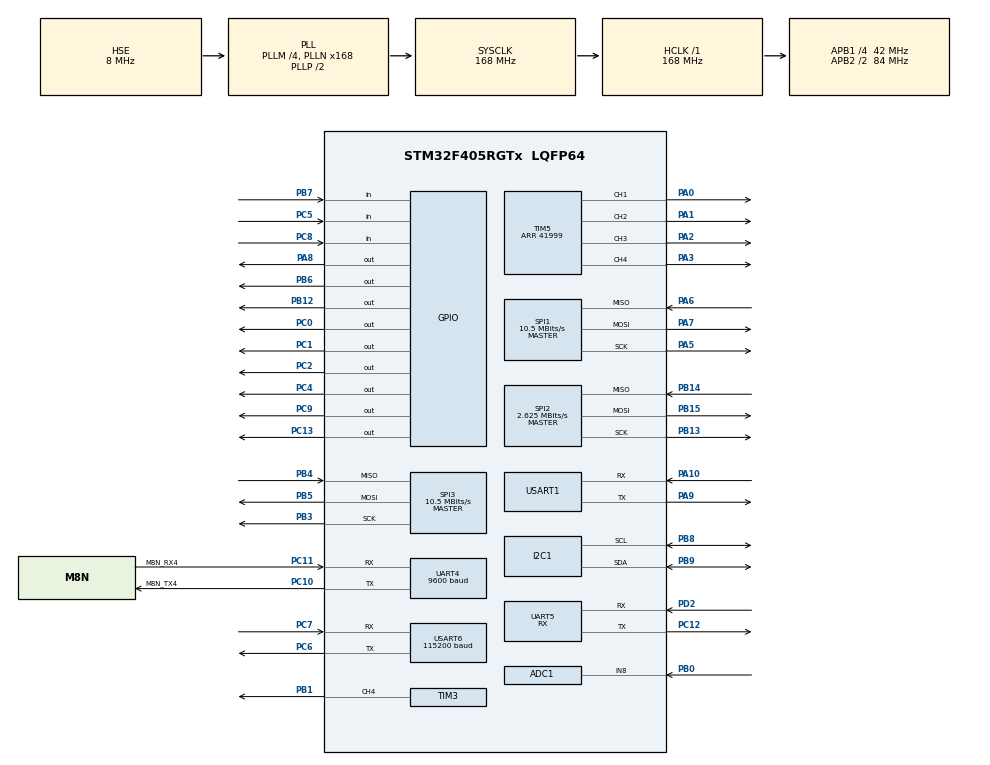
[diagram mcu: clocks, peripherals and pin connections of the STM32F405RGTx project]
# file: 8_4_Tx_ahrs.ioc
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ADC1.Channel-0\#ChannelRegularConversion=ADC_CHANNEL_8
ADC1.ClockPrescaler=ADC_CLOCK_SYNC_PCLK_DIV8
ADC1.ContinuousConvMode=ENABLE
ADC1.DMAContinuousRequests=ENABLE
ADC1.NbrOfConversionFlag=1
ADC1.Rank-0\#ChannelRegularConversion=1
ADC1.SamplingTime-0\#ChannelRegularConversion=ADC_SAMPLETIME_480CYCLES
ADC1.master=1
Dma.ADC1.0.Direction=DMA_PERIPH_TO_MEMORY
Dma.ADC1.0.FIFOMode=DMA_FIFOMODE_DISABLE
Dma.ADC1.0.Instance=DMA2_Stream0
Dma.ADC1.0.MemDataAlignment=DMA_MDATAALIGN_HALFWORD
Dma.ADC1.0.MemInc=DMA_MINC_DISABLE
Dma.ADC1.0.Mode=DMA_CIRCULAR
Dma.ADC1.0.PeriphDataAlignment=DMA_PDATAALIGN_HALFWORD
Dma.ADC1.0.PeriphInc=DMA_PINC_DISABLE
Dma.ADC1.0.Priority=DMA_PRIORITY_LOW
Dma.Request0=ADC1
I2C1.I2C_Mode=I2C_Fast
Mcu.Family=STM32F4
Mcu.Name=STM32F405RGTx
Mcu.Package=LQFP64
NVIC.DMA2_Stream0_IRQn=true\:0\:0\:false\:false\:true\:false\:true
NVIC.PriorityGroup=NVIC_PRIORITYGROUP_4
NVIC.TIM7_IRQn=true\:0\:0\:false\:false\:true\:true\:true
NVIC.UART4_IRQn=true\:0\:0\:false\:false\:true\:true\:true
NVIC.UART5_IRQn=true\:0\:0\:false\:false\:true\:true\:true
NVIC.USART1_IRQn=true\:0\:0\:false\:false\:true\:true\:true
NVIC.USART6_IRQn=true\:0\:0\:false\:false\:true\:true\:true
PA0-WKUP.Signal=S_TIM5_CH1
PA1.Signal=S_TIM5_CH2
PA10.Mode=Asynchronous
PA10.Signal=USART1_RX
PA2.Signal=S_TIM5_CH3
PA3.Signal=S_TIM5_CH4
PA5.Mode=Full_Duplex_Master
PA5.Signal=SPI1_SCK
PA6.Mode=Full_Duplex_Master
PA6.Signal=SPI1_MISO
PA7.Mode=Full_Duplex_Master
PA7.Signal=SPI1_MOSI
PA8.Signal=GPIO_Output
PA9.Mode=Asynchronous
PA9.Signal=USART1_TX
PB0.Signal=ADCx_IN8
PB1.Signal=S_TIM3_CH4
PB12.Signal=GPIO_Output
PB13.Mode=Full_Duplex_Master
PB13.Signal=SPI2_SCK
PB14.Mode=Full_Duplex_Master
PB14.Signal=SPI2_MISO
PB15.Mode=Full_Duplex_Master
PB15.Signal=SPI2_MOSI
PB3.Mode=Full_Duplex_Master
PB3.Signal=SPI3_SCK
PB4.Mode=Full_Duplex_Master
PB4.Signal=SPI3_MISO
PB5.Mode=Full_Duplex_Master
PB5.Signal=SPI3_MOSI
PB6.Signal=GPIO_Output
PB7.Signal=GPIO_Input
PB8.Mode=I2C
PB8.Signal=I2C1_SCL
PB9.Mode=I2C
PB9.Signal=I2C1_SDA
PC0.Signal=GPIO_Output
PC1.Signal=GPIO_Output
PC10.GPIO_Label=M8N_TX4
PC10.Mode=Asynchronous
PC10.Signal=UART4_TX
PC11.GPIO_Label=M8N_RX4
PC11.Mode=Asynchronous
PC11.Signal=UART4_RX
PC12.Mode=Asynchronous
PC12.Signal=UART5_TX
PC13-ANTI_TAMP.PinState=GPIO_PIN_SET
PC13-ANTI_TAMP.Signal=GPIO_Output
PC2.Signal=GPIO_Output
PC4.Signal=GPIO_Output
PC5.Signal=GPIO_Input
PC6.Mode=Asynchronous
PC6.Signal=USART6_TX
PC7.Mode=Asynchronous
PC7.Signal=USART6_RX
PC8.Signal=GPIO_Input
PC9.Signal=GPIO_Output
PD2.Mode=Asynchronous
PD2.Signal=UART5_RX
PH0-OSC_IN.Mode=HSE-External-Oscillator
PH0-OSC_IN.Signal=RCC_OSC_IN
PH1-OSC_OUT.Mode=HSE-External-Oscillator
PH1-OSC_OUT.Signal=RCC_OSC_OUT
ProjectManager.HeapSize=0x200
ProjectManager.StackSize=0x400
ProjectManager.TargetToolchain=STM32CubeIDE
RCC.48MHZClocksFreq_Value=84000000
RCC.AHBFreq_Value=168000000
RCC.APB1CLKDivider=RCC_HCLK_DIV4
RCC.APB1Freq_Value=42000000
RCC.APB1TimFreq_Value=84000000
RCC.APB2CLKDivider=RCC_HCLK_DIV2
RCC.APB2Freq_Value=84000000
RCC.APB2TimFreq_Value=168000000
RCC.CortexFreq_Value=168000000
RCC.HCLKFreq_Value=168000000
RCC.HSE_VALUE=8000000
RCC.HSI_VALUE=16000000
RCC.LSE_VALUE=32768
RCC.PLLM=4
RCC.PLLN=168
RCC.PLLSourceVirtual=RCC_PLLSOURCE_HSE
RCC.SYSCLKFreq_VALUE=168000000
RCC.SYSCLKSource=RCC_SYSCLKSOURCE_PLLCLK
RCC.VCOOutputFreq_Value=336000000
SH.ADCx_IN8.0=ADC1_IN8,IN8
SH.S_TIM3_CH4.0=TIM3_CH4,PWM Generation4 CH4
SH.S_TIM5_CH1.0=TIM5_CH1,PWM Generation1 CH1
SH.S_TIM5_CH2.0=TIM5_CH2,PWM Generation2 CH2
SH.S_TIM5_CH3.0=TIM5_CH3,PWM Generation3 CH3
SH.S_TIM5_CH4.0=TIM5_CH4,PWM Generation4 CH4
SPI1.BaudRatePrescaler=SPI_BAUDRATEPRESCALER_8
SPI1.CLKPhase=SPI_PHASE_2EDGE
SPI1.CLKPolarity=SPI_POLARITY_HIGH
SPI1.CalculateBaudRate=10.5 MBits/s
SPI1.Direction=SPI_DIRECTION_2LINES
SPI1.Mode=SPI_MODE_MASTER
SPI1.VirtualType=VM_MASTER
SPI2.BaudRatePrescaler=SPI_BAUDRATEPRESCALER_16
SPI2.CLKPhase=SPI_PHASE_2EDGE
SPI2.CLKPolarity=SPI_POLARITY_HIGH
SPI2.CalculateBaudRate=2.625 MBits/s
SPI2.Direction=SPI_DIRECTION_2LINES
SPI2.Mode=SPI_MODE_MASTER
SPI2.VirtualType=VM_MASTER
SPI3.BaudRatePrescaler=SPI_BAUDRATEPRESCALER_4
SPI3.CLKPhase=SPI_PHASE_2EDGE
SPI3.CLKPolarity=SPI_POLARITY_HIGH
SPI3.CalculateBaudRate=10.5 MBits/s
SPI3.Direction=SPI_DIRECTION_2LINES
SPI3.Mode=SPI_MODE_MASTER
SPI3.VirtualType=VM_MASTER
TIM3.AutoReloadPreload=TIM_AUTORELOAD_PRELOAD_ENABLE
TIM3.Channel-PWM\ Generation4\ CH4=TIM_CHANNEL_4
TIM3.OCFastMode_PWM-PWM\ Generation4\ CH4=TIM_OCFAST_ENABLE
TIM3.Period=20
TIM3.Prescaler=999
TIM3.Pulse-PWM\ Generation4\ CH4=10
TIM5.AutoReloadPreload=TIM_AUTORELOAD_PRELOAD_ENABLE
TIM5.Channel-PWM\ Generation1\ CH1=TIM_CHANNEL_1
TIM5.Channel-PWM\ Generation2\ CH2=TIM_CHANNEL_2
TIM5.Channel-PWM\ Generation3\ CH3=TIM_CHANNEL_3
TIM5.Channel-PWM\ Generation4\ CH4=TIM_CHANNEL_4
TIM5.OCFastMode_PWM-PWM\ Generation1\ CH1=TIM_OCFAST_ENABLE
TIM5.OCFastMode_PWM-PWM\ Generation2\ CH2=TIM_OCFAST_ENABLE
TIM5.OCFastMode_PWM-PWM\ Generation3\ CH3=TIM_OCFAST_ENABLE
TIM5.OCFastMode_PWM-PWM\ Generation4\ CH4=TIM_OCFAST_ENABLE
TIM5.Period=41999
TIM5.Pulse-PWM\ Generation1\ CH1=0
TIM5.Pulse-PWM\ Generation2\ CH2=0
TIM5.Pulse-PWM\ Generation3\ CH3=0
TIM7.AutoReloadPreload=TIM_AUTORELOAD_PRELOAD_ENABLE
TIM7.Period=1
TIM7.Prescaler=41999
UART4.BaudRate=9600
UART4.VirtualMode=Asynchronous
UART5.Mode=MODE_RX
UART5.VirtualMode=Asynchronous
USART1.VirtualMode=VM_ASYNC
USART6.BaudRate=115200
USART6.VirtualMode=VM_ASYNC
VP_TIM5_VS_ClockSourceINT.Mode=Internal
VP_TIM7_VS_ClockSourceINT.Mode=Enable_Timer
board=custom

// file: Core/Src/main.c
/* USER CODE BEGIN Header */
/**
 ******************************************************************************
 * @file           : main.c
 * @brief          : Main program body
 ******************************************************************************
 * @attention
 *
 * <h2><center>&copy; Copyright (c) 2020 STMicroelectronics.
 * All rights reserved.</center></h2>
 *
 * This software component is licensed by ST under BSD 3-Clause license,
 * the "License"; You may not use this file except in compliance with the
 * License. You may obtain a copy of the License at:
 *                        opensource.org/licenses/BSD-3-Clause
 *
 ******************************************************************************
 */
/* USER CODE END Header */

#include "main.h"
#include "adc.h"
#include "dma.h"
#include "i2c.h"
#include "spi.h"
#include "tim.h"
#include "usart.h"
#include "gpio.h"

/* USER CODE BEGIN Includes */
#include "BNO080.h"
#include "Quaternion.h"
#include "ICM20602.h"
#include "LPS22HH.h"
#include "M8N.h"
#include "FS_iA6B.h"
#include "AT24C08.h"

/* USER CODE END Includes */

/* USER CODE BEGIN PTD */
int _write(int file, char *p, int len) {
	for (int i = 0; i < len; i++) {
		while (!LL_USART_IsActiveFlag_TXE(USART6))
			;
		LL_USART_TransmitData8(USART6, *(p + i));
	}
	return len;
}
/* USER CODE END PTD */

/* USER CODE BEGIN PV */
extern uint8_t uart6_rx_flag;
extern uint8_t uart6_rx_data;
extern uint8_t m8n_rx_buf[36];
extern uint8_t m8n_rx_cplt_flag;
extern uint8_t ibus_rx_buf[32];
extern uint8_t ibus_rx_cplt_flag;
extern uint8_t uart1_rx_data;
uint8_t telemetry_tx_buf[20];
extern uint8_t tim7_20ms_flag;
/* USER CODE END PV */

void SystemClock_Config(void);
/* USER CODE BEGIN PFP */
int Is_iBus_Throttle_Min(void);
void ESC_Calibration(void);
int Is_iBus_Received(void);
void BNO080_Calibration(void);
/* USER CODE END PFP */

int main(void)
{
	/* USER CODE BEGIN 1 */
	float q[4];
	float quatRadianAccuracy;
	unsigned char buf_read[16] = {1};
	unsigned char buf_write[16] = {1, 2, 3, 4, 5, 6, 7, 8, 9, 10, 11, 12, 13, 14, 15, 16};
	unsigned short adcVal;
	float batteryVolt;
	short gyro_x_offset = 8;
	short gyro_y_offset = -23;
	short gyro_z_offset = -2;
	/* USER CODE END 1 */

	/* MCU Configuration--------------------------------------------------------*/

	/* Reset of all peripherals, Initializes the Flash interface and the Systick. */
	HAL_Init();

	/* Configure the system clock */
	SystemClock_Config();

	/* Initialize all configured peripherals */
	MX_GPIO_Init();
	MX_DMA_Init();
	MX_TIM3_Init();
	MX_USART6_UART_Init();
	MX_SPI2_Init();
	MX_SPI1_Init();
	MX_SPI3_Init();
	MX_UART4_Init();
	MX_UART5_Init();
	MX_TIM5_Init();
	MX_I2C1_Init();
	MX_ADC1_Init();
	MX_USART1_UART_Init();
	MX_TIM7_Init();
	/* USER CODE BEGIN 2 */
	//TIM3 Initialization
	LL_TIM_EnableCounter(TIM3);

	//UART4, 5, 6 Initialization
	LL_USART_EnableIT_RXNE(USART6);
	LL_USART_EnableIT_RXNE(UART4);
	LL_USART_EnableIT_RXNE(UART5);

	//9DOF Initialization
	BNO080_Initialization();
	BNO080_enableRotationVector(2500); //400Hz, maximum value describing in datasheet

	//6DOF Initialization
	ICM20602_Initialization();
	LPS22HH_Initialization();
	M8N_Initialization();

	//TIM5 Initialization
	LL_TIM_EnableCounter(TIM5);
	LL_TIM_CC_EnableChannel(TIM5, LL_TIM_CHANNEL_CH1);
	LL_TIM_CC_EnableChannel(TIM5, LL_TIM_CHANNEL_CH2);
	LL_TIM_CC_EnableChannel(TIM5, LL_TIM_CHANNEL_CH3);
	LL_TIM_CC_EnableChannel(TIM5, LL_TIM_CHANNEL_CH4);

	HAL_ADC_Start_DMA(&hadc1, &adcVal, 1);

	//UART1 - HAL Rx Interrupt
	HAL_UART_Receive_IT(&huart1, &uart1_rx_data, 1);

	//TIM7 Initialization for FC <-> GCS
	LL_TIM_EnableCounter(TIM7);
	LL_TIM_EnableIT_UPDATE(TIM7);

	//ICM20602 DC BIAS OFFSET CALIBRATION
	ICM20602_Writebyte(0x13, (gyro_x_offset * -2) >> 8);
	ICM20602_Writebyte(0x14, (gyro_x_offset * -2));

	ICM20602_Writebyte(0x15, (gyro_y_offset * -2) >> 8);
	ICM20602_Writebyte(0x16, (gyro_y_offset * -2));

	ICM20602_Writebyte(0x17, (gyro_z_offset * -2) >> 8);
	ICM20602_Writebyte(0x18, (gyro_z_offset * -2));

	//	adcVal = ADC1 -> DR;
	//	//FS-i6 PACKET CHECK
	//	while(Is_iBus_Received() == 0) {
	//		LL_TIM_CC_EnableChannel(TIM3, LL_TIM_CHANNEL_CH4);
	//		TIM3->PSC = 3000;
	//		HAL_Delay(200);
	//		LL_TIM_CC_DisableChannel(TIM3, LL_TIM_CHANNEL_CH4);
	//		HAL_Delay(200);
	//	}
	//
	//
	//	//CALIBRATION BASED ON SwC
	//	if(iBus.SwC == 2000) {
	//		//ESC CALIBRATION
	//		LL_TIM_CC_EnableChannel(TIM3, LL_TIM_CHANNEL_CH4);
	//		TIM3->PSC = 1500;
	//		HAL_Delay(200);
	//		TIM3->PSC = 4000;
	//		HAL_Delay(200);
	//		TIM3->PSC = 1500;
	//		HAL_Delay(200);
	//		TIM3->PSC = 4000;
	//		HAL_Delay(200);
	//		LL_TIM_CC_DisableChannel(TIM3, LL_TIM_CHANNEL_CH4);
	//
	//		ESC_Calibration();
	//		while(iBus.SwC != 1000) {
	//			Is_iBus_Received();
	//			LL_TIM_CC_EnableChannel(TIM3, LL_TIM_CHANNEL_CH4);
	//			TIM3->PSC = 1500;
	//			HAL_Delay(200);
	//			TIM3->PSC = 6000;
	//			HAL_Delay(200);
	//			LL_TIM_CC_DisableChannel(TIM3, LL_TIM_CHANNEL_CH4);
	//		}
	//	}
	//	else if (iBus.SwC == 1500) {
	//		//BNO080 CALIBRATION
	//		LL_TIM_CC_EnableChannel(TIM3, LL_TIM_CHANNEL_CH4);
	//		TIM3->PSC = 1500;
	//		HAL_Delay(200);
	//		TIM3->PSC = 4000;
	//		HAL_Delay(200);
	//		TIM3->PSC = 1500;
	//		HAL_Delay(200);
	//		TIM3->PSC = 4000;
	//		HAL_Delay(200);
	//		LL_TIM_CC_DisableChannel(TIM3, LL_TIM_CHANNEL_CH4);
	//
	//		BNO080_Calibration();
	//		while(iBus.SwC != 1000) {
	//			Is_iBus_Received();
	//			LL_TIM_CC_EnableChannel(TIM3, LL_TIM_CHANNEL_CH4);
	//			TIM3->PSC = 1500;
	//			HAL_Delay(200);
	//			TIM3->PSC = 6000;
	//			HAL_Delay(200);
	//			LL_TIM_CC_DisableChannel(TIM3, LL_TIM_CHANNEL_CH4);
	//		}
	//	}
	//
	//
	//
	//	while(Is_iBus_Throttle_Min() == 0) {
	//		LL_TIM_CC_EnableChannel(TIM3, LL_TIM_CHANNEL_CH4);
	//		TIM3->PSC = 1500;
	//		HAL_Delay(100);
	//		LL_TIM_CC_DisableChannel(TIM3, LL_TIM_CHANNEL_CH4);
	//		HAL_Delay(100);
	//	}

	//	//EEPROM Write
	//	EP_PIDGain_Write(0, 1.1, 2.2, 3.3);
	//	float p = 0.0, i = 0.0, d = 0.0;
	//
	//	//EEPROM Read
	//	EP_PIDGain_Read(0, &p, &i, &d);
	//	printf("%f %f %f", p, i, d);

	LL_TIM_CC_EnableChannel(TIM3, LL_TIM_CHANNEL_CH4);
	TIM3->PSC = 6000;
	HAL_Delay(200);
	TIM3->PSC = 4000;
	HAL_Delay(100);
	TIM3->PSC = 4000;
	HAL_Delay(100);
	TIM3->PSC = 6000;
	HAL_Delay(200);
	//  TIM3 -> CCR4 = TIM3 -> ARR / 2;
	LL_TIM_CC_DisableChannel(TIM3, LL_TIM_CHANNEL_CH4);

	printf("Starts\n");

	/* USER CODE END 2 */

	/* Infinite loop */
	while (1) {

		/* USER CODE BEGIN 3 */
		if (tim7_20ms_flag == 1) {
			//20ms period
			tim7_20ms_flag = 0;
			//Sync char
			telemetry_tx_buf[0] = 0x46;
			telemetry_tx_buf[1] = 0x43;
			//AHRS
			telemetry_tx_buf[2] = 0x10;
			//Current Roll
			telemetry_tx_buf[3] = (short)(BNO080_Roll * 100);
			telemetry_tx_buf[4] = ((short)(BNO080_Roll * 100)) >> 8;
			//Current Pitch
			telemetry_tx_buf[5] = (short)(BNO080_Pitch * 100);
			telemetry_tx_buf[6] = ((short)(BNO080_Pitch * 100)) >> 8;
			//Current Yaw
			telemetry_tx_buf[7] = (unsigned short)(BNO080_Yaw * 100);
			telemetry_tx_buf[8] = ((unsigned short)(BNO080_Yaw * 100)) >> 8;
			//Current Altitude
			telemetry_tx_buf[9] = (short)(LPS22HH.baroAltFilt * 10);
			telemetry_tx_buf[10] = ((short)(LPS22HH.baroAltFilt * 100)) >> 8;

			//target Roll at Controller
			telemetry_tx_buf[11] = (short)((iBus.RH - 1500) * 0.1f * 100); //-50 ~ +50
			telemetry_tx_buf[12] = ((short)((iBus.RH - 1500) * 0.1f * 100)) >> 8;

			//target Pitch at Controller
			telemetry_tx_buf[13] = (short)((iBus.RV - 1500) * 0.1f * 100); //-50 ~ +50
			telemetry_tx_buf[14] = ((short)((iBus.RV - 1500) * 0.1f * 100)) >> 8;

			//target Yaw at Controller
			telemetry_tx_buf[15] = (unsigned short)((iBus.LH - 1000) * 0.36f * 100); //0 ~ 360
			telemetry_tx_buf[16] = ((unsigned short)((iBus.LH - 1000) * 0.36f * 100)) >> 8;

			telemetry_tx_buf[17] = 0x00;
			telemetry_tx_buf[18] = 0x00;

			//Checksum
			telemetry_tx_buf[19] = 0xff;
			for(int i = 0; i < 19; i++) {
				telemetry_tx_buf[19] -= telemetry_tx_buf[i];
			}

			//Transmit
			HAL_UART_Transmit_IT(&huart1, &telemetry_tx_buf[0], 20);
		}

		//Battery Part
		batteryVolt = adcVal * 0.003619f;
		//		printf("%d\t%.2f\n", adcVal, batteryVolt);
		if (batteryVolt < 10.0f) {
			LL_TIM_CC_EnableChannel(TIM3, LL_TIM_CHANNEL_CH4);
			TIM3->PSC = 1500;
		}
		else {
			LL_TIM_CC_DisableChannel(TIM3, LL_TIM_CHANNEL_CH4);
		}

		//BNO080 - 9DOF
		if (BNO080_dataAvailable() == 1) {
			LL_GPIO_TogglePin(GPIOC, LL_GPIO_PIN_0);

			q[0] = BNO080_getQuatI();
			q[1] = BNO080_getQuatJ();
			q[2] = BNO080_getQuatK();
			q[3] = BNO080_getQuatReal();
			quatRadianAccuracy = BNO080_getQuatRadianAccuracy();

			Quaternion_Update(&q[0]);
			//			printf("%.2f\t%.2f\n", BNO080_Roll, BNO080_Pitch);
			//			printf("%.2f\n", BNO080_Yaw);
		}

		//ICM20602 - 6DOF
		if (ICM20602_DataReady() == 1) {
			LL_GPIO_TogglePin(GPIOC, LL_GPIO_PIN_1);
			ICM20602_Get3AxisGyroRawData(&ICM20602.gyro_x_raw);
			ICM20602.gyro_x = ICM20602.gyro_x_raw * 2000.f / 32768.f;
			ICM20602.gyro_y = ICM20602.gyro_y_raw * 2000.f / 32768.f;
			ICM20602.gyro_z = ICM20602.gyro_z_raw * 2000.f / 32768.f;
			//		printf("%d,%d,%d\n", ICM20602.gyro_x_raw ,ICM20602.gyro_y_raw, ICM20602.gyro_z_raw);
			//		printf("%d,%d,%d\n", (int)(ICM20602.gyro_x * 100), (int)(ICM20602.gyro_y * 100), (int)(ICM20602.gyro_z * 100));
		}

		//LPS22HH Barometer
		if(LPS22HH_DataReady() == 1) {
			LPS22HH_GetPressure(&LPS22HH.pressure_raw);
			LPS22HH_GetTemperature(&LPS22HH.temperature_raw);
			LPS22HH.baroAlt = getAltitude2(LPS22HH.pressure_raw/4096.f, LPS22HH.temperature_raw / 100.f);
#define X 0.99f
			LPS22HH.baroAltFilt = LPS22HH.baroAltFilt * X + LPS22HH.baroAlt * (1.0f -X);
			//			printf("%d,%d\n", (int)(LPS22HH.baroAlt * 100), (int)(LPS22HH.baroAltFilt * 100));
		}
		//M8N GPS
		if(m8n_rx_cplt_flag == 1) {
			m8n_rx_cplt_flag = 0;
			if (M8N_UBX_CHKSUM_Check(&m8n_rx_buf[0], 36) == 1) {
				LL_GPIO_TogglePin(GPIOC, LL_GPIO_PIN_2);
				M8N_UBX_NAV_POSLLH_Parsing(&m8n_rx_buf[0], &posllh);

				//				printf("LAT: %ld\tLON: %ld\tHeight: %ld\n", posllh.lat, posllh.lon, posllh.height);
			}
		}
		//Controller
		if (ibus_rx_cplt_flag == 1) {
			ibus_rx_cplt_flag = 0;
			if (iBus_Check_CHECKSUM(&ibus_rx_buf[0], 32) == 1) {
				LL_GPIO_TogglePin(GPIOC, LL_GPIO_PIN_2);

				iBus_Parsing(&ibus_rx_buf[0], &iBus);
				if (iBus_isActiveFailSafe(&iBus) == 1) {
					LL_TIM_CC_EnableChannel(TIM3, LL_TIM_CHANNEL_CH4);
				}
				else {
					LL_TIM_CC_DisableChannel(TIM3, LL_TIM_CHANNEL_CH4);
				}
				//				printf("%d\t%d\t%d\t%d\t%d\t%d\n", iBus.RH, iBus.RV, iBus.LV, iBus.LH, iBus.SwA, iBus.SwC);
				//				HAL_Delay(100);
			}
		}

		//		TIM5 -> CCR1 = 10500 + (iBus.LV - 1000) * 1.5;
		//		TIM5 -> CCR2 = 10500 + (iBus.LV - 1000) * 1.5;
		//		TIM5 -> CCR3 = 10500 + (iBus.LV - 1000) * 1.5;
		//		TIM5 -> CCR4 = 10500 + (iBus.LV - 1000) * 1.5;
		//		tim5_ccr4 += 10;
		//		if (tim5_ccr4 > 21000) tim5_ccr4 = 10500;
		//		TIM5->CCR4 = tim5_ccr4;
		//		HAL_Delay(1);

	}
	/* USER CODE END 3 */
}

void SystemClock_Config(void)
{
	RCC_OscInitTypeDef RCC_OscInitStruct = {0};
	RCC_ClkInitTypeDef RCC_ClkInitStruct = {0};

	/** Configure the main internal regulator output voltage
	 */
	__HAL_RCC_PWR_CLK_ENABLE();
	__HAL_PWR_VOLTAGESCALING_CONFIG(PWR_REGULATOR_VOLTAGE_SCALE1);
	/** Initializes the CPU, AHB and APB busses clocks
	 */
	RCC_OscInitStruct.OscillatorType = RCC_OSCILLATORTYPE_HSE;
	RCC_OscInitStruct.HSEState = RCC_HSE_ON;
	RCC_OscInitStruct.PLL.PLLState = RCC_PLL_ON;
	RCC_OscInitStruct.PLL.PLLSource = RCC_PLLSOURCE_HSE;
	RCC_OscInitStruct.PLL.PLLM = 4;
	RCC_OscInitStruct.PLL.PLLN = 168;
	RCC_OscInitStruct.PLL.PLLP = RCC_PLLP_DIV2;
	RCC_OscInitStruct.PLL.PLLQ = 4;
	if (HAL_RCC_OscConfig(&RCC_OscInitStruct) != HAL_OK)
	{
		Error_Handler();
	}
	/** Initializes the CPU, AHB and APB busses clocks
	 */
	RCC_ClkInitStruct.ClockType = RCC_CLOCKTYPE_HCLK|RCC_CLOCKTYPE_SYSCLK
			|RCC_CLOCKTYPE_PCLK1|RCC_CLOCKTYPE_PCLK2;
	RCC_ClkInitStruct.SYSCLKSource = RCC_SYSCLKSOURCE_PLLCLK;
	RCC_ClkInitStruct.AHBCLKDivider = RCC_SYSCLK_DIV1;
	RCC_ClkInitStruct.APB1CLKDivider = RCC_HCLK_DIV4;
	RCC_ClkInitStruct.APB2CLKDivider = RCC_HCLK_DIV2;

	if (HAL_RCC_ClockConfig(&RCC_ClkInitStruct, FLASH_LATENCY_5) != HAL_OK)
	{
		Error_Handler();
	}
}

/* USER CODE BEGIN 4 */
int Is_iBus_Throttle_Min(void) {
	if (ibus_rx_cplt_flag == 1) {
		ibus_rx_cplt_flag = 0;
		if (iBus_Check_CHECKSUM(&ibus_rx_buf[0], 32) == 1) {
			iBus_Parsing(&ibus_rx_buf[0], &iBus);
			if(iBus.LV < 1010) return 1;

		}
	}
	return 0;
}

void ESC_Calibration(void) {
	TIM5 -> CCR1 = 21000;
	TIM5 -> CCR2 = 21000;
	TIM5 -> CCR3 = 21000;
	TIM5 -> CCR4 = 21000;
	HAL_Delay(7000);
	TIM5 -> CCR1 = 10500;
	TIM5 -> CCR2 = 10500;
	TIM5 -> CCR3 = 10500;
	TIM5 -> CCR4 = 10500;
	HAL_Delay(8000);
}

int Is_iBus_Received(void) {
	if (ibus_rx_cplt_flag == 1) {
		ibus_rx_cplt_flag = 0;
		if (iBus_Check_CHECKSUM(&ibus_rx_buf[0], 32) == 1) {
			iBus_Parsing(&ibus_rx_buf[0], &iBus);
			return 1;
		}
	}
	return 0;
}

void BNO080_Calibration(void)
{
	//Resets BNO080 to disable All output
	BNO080_Initialization();

	//BNO080/BNO085 Configuration
	//Enable dynamic calibration for accelerometer, gyroscope, and magnetometer
	//Enable Game Rotation Vector output
	//Enable Magnetic Field output
	BNO080_calibrateAll(); //Turn on cal for Accel, Gyro, and Mag
	BNO080_enableGameRotationVector(20000); //Send data update every 20ms (50Hz)
	BNO080_enableMagnetometer(20000); //Send data update every 20ms (50Hz)

	//Once magnetic field is 2 or 3, run the Save DCD Now command
	printf("Calibrating BNO080. Pull up FS-i6 SWC to end calibration and save to flash\n");
	printf("Output in form x, y, z, in uTesla\n\n");

	//while loop for calibration procedure
	//Iterates until iBus.SwC is mid point (1500)
	//Calibration procedure should be done while this loop is in iteration.
	while(iBus.SwC == 1500)
	{
		if(BNO080_dataAvailable() == 1)
		{
			//Observing the status bit of the magnetic field output
			float x = BNO080_getMagX();
			float y = BNO080_getMagY();
			float z = BNO080_getMagZ();
			unsigned char accuracy = BNO080_getMagAccuracy();

			float quatI = BNO080_getQuatI();
			float quatJ = BNO080_getQuatJ();
			float quatK = BNO080_getQuatK();
			float quatReal = BNO080_getQuatReal();
			unsigned char sensorAccuracy = BNO080_getQuatAccuracy();

			printf("%f,%f,%f,", x, y, z);
			if (accuracy == 0) printf("Unreliable\t");
			else if (accuracy == 1) printf("Low\t");
			else if (accuracy == 2) printf("Medium\t");
			else if (accuracy == 3) printf("High\t");

			printf("\t%f,%f,%f,%f,", quatI, quatI, quatI, quatReal);
			if (sensorAccuracy == 0) printf("Unreliable\n");
			else if (sensorAccuracy == 1) printf("Low\n");
			else if (sensorAccuracy == 2) printf("Medium\n");
			else if (sensorAccuracy == 3) printf("High\n");

			//Turn the LED and buzzer on when both accuracy and sensorAccuracy is high
			if(accuracy == 3 && sensorAccuracy == 3)
			{
				LL_GPIO_SetOutputPin(GPIOC, LL_GPIO_PIN_0 | LL_GPIO_PIN_1 | LL_GPIO_PIN_2);
				TIM3->PSC = 65000; //Very low frequency
				LL_TIM_CC_EnableChannel(TIM3, LL_TIM_CHANNEL_CH4);
			}
			else
			{
				LL_GPIO_ResetOutputPin(GPIOC, LL_GPIO_PIN_0 | LL_GPIO_PIN_1 | LL_GPIO_PIN_2);
				LL_TIM_CC_DisableChannel(TIM3, LL_TIM_CHANNEL_CH4);
			}
		}

		Is_iBus_Received(); //Refreshes iBus Data for iBus.SwC
		HAL_Delay(100);
	}

	//Ends the loop when iBus.SwC is not mid point
	//Turn the LED and buzzer off
	LL_GPIO_ResetOutputPin(GPIOC, LL_GPIO_PIN_0 | LL_GPIO_PIN_1 | LL_GPIO_PIN_2);
	LL_TIM_CC_DisableChannel(TIM3, LL_TIM_CHANNEL_CH4);

	//Saves the current dynamic calibration data (DCD) to memory
	//Sends command to get the latest calibration status
	BNO080_saveCalibration();
	BNO080_requestCalibrationStatus();

	//Wait for calibration response, timeout if no response
	int counter = 100;
	while(1)
	{
		if(--counter == 0) break;
		if(BNO080_dataAvailable())
		{
			//The IMU can report many different things. We must wait
			//for the ME Calibration Response Status byte to go to zero
			if(BNO080_calibrationComplete() == 1)
			{
				printf("\nCalibration data successfully stored\n");
				LL_TIM_CC_EnableChannel(TIM3, LL_TIM_CHANNEL_CH4);
				TIM3->PSC = 2000;
				HAL_Delay(300);
				TIM3->PSC = 1500;
				HAL_Delay(300);
				LL_TIM_CC_DisableChannel(TIM3, LL_TIM_CHANNEL_CH4);
				HAL_Delay(1000);
				break;
			}
		}
		HAL_Delay(10);
	}
	if(counter == 0)
	{
		printf("\nCalibration data failed to store. Please try again.\n");
		LL_TIM_CC_EnableChannel(TIM3, LL_TIM_CHANNEL_CH4);
		TIM3->PSC = 1500;
		HAL_Delay(300);
		TIM3->PSC = 2000;
		HAL_Delay(300);
		LL_TIM_CC_DisableChannel(TIM3, LL_TIM_CHANNEL_CH4);
		HAL_Delay(1000);
	}

	//BNO080_endCalibration(); //Turns off all calibration
	//In general, calibration should be left on at all times. The BNO080
	//auto-calibrates and auto-records cal data roughly every 5 minutes

	//Resets BNO080 to disable Game Rotation Vector and Magnetometer
	//Enables Rotation Vector
	BNO080_Initialization();
	BNO080_enableRotationVector(2500); //Send data update every 2.5ms (400Hz)
}

void HAL_UART_RxCpltCallback(UART_HandleTypeDef *huart){
	//HAL Only, LL cannot be supported
	//HAL UART Receive Call back function
	if (huart->Instance == USART1) {
		HAL_UART_Receive_IT(&huart1, &uart1_rx_data, 1);
		//		HAL_UART_Transmit_IT(&huart1, &uart1_rx_data, 1);
	}
}

/* USER CODE END 4 */

void Error_Handler(void)
{
}

/************************ (C) COPYRIGHT STMicroelectronics *****END OF FILE****/
